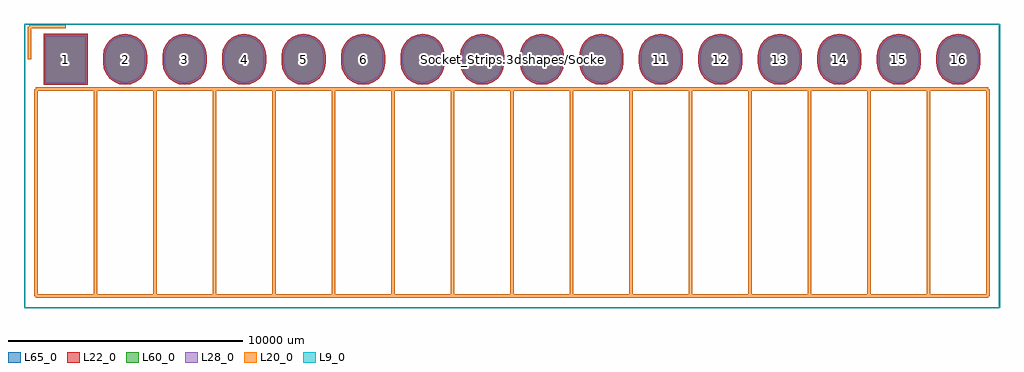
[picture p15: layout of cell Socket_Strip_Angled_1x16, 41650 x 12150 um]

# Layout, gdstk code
import gdstk
lib = gdstk.Library(unit=1e-6, precision=1e-09)
def R(c, l, rs):  # rectangles x0, y0, x1, y1
    for r in rs: c.add(gdstk.rectangle(r[:2], r[2:], *l))
def P(c, l, *ps):  # polygons
    for p in ps: c.add(gdstk.Polygon(p, *l))
L9_0 = (9, 0)
L20_0 = (20, 0)
L22_0 = (22, 0)
L28_0 = (28, 0)
L60_0 = (60, 0)
L65_0 = (65, 0)

socket_strip_angled_1x16 = lib.new_cell('Socket_Strip_Angled_1x16')
R(socket_strip_angled_1x16, L22_0, [(-938.6,-1091,938.6,1091)])
P(socket_strip_angled_1x16, L22_0, [(38100,-1091),(38342.928,-1059.018),(38569.3,-965.251),(38763.69,-816.09),(38912.851,-621.7),(39006.618,-395.328),(39038.6,-152.4),(39038.6,152.4),(39006.618,395.328),(38912.851,621.7),(38763.69,816.09),(38569.3,965.251),(38342.928,1059.018),(38100,1091),(37857.072,1059.018),(37630.7,965.251),(37436.31,816.09),(37287.149,621.7),(37193.382,395.328),(37161.4,152.4),(37161.4,-152.4),(37193.382,-395.328),(37287.149,-621.7),(37436.31,-816.09),(37630.7,-965.251),(37857.072,-1059.018)],
  [(35560,-1091),(35802.928,-1059.018),(36029.3,-965.251),(36223.69,-816.09),(36372.851,-621.7),(36466.618,-395.328),(36498.6,-152.4),(36498.6,152.4),(36466.618,395.328),(36372.851,621.7),(36223.69,816.09),(36029.3,965.251),(35802.928,1059.018),(35560,1091),(35317.072,1059.018),(35090.7,965.251),(34896.31,816.09),(34747.149,621.7),(34653.382,395.328),(34621.4,152.4),(34621.4,-152.4),(34653.382,-395.328),(34747.149,-621.7),(34896.31,-816.09),(35090.7,-965.251),(35317.072,-1059.018)],
  [(33020,-1091),(33262.928,-1059.018),(33489.3,-965.251),(33683.69,-816.09),(33832.851,-621.7),(33926.618,-395.328),(33958.6,-152.4),(33958.6,152.4),(33926.618,395.328),(33832.851,621.7),(33683.69,816.09),(33489.3,965.251),(33262.928,1059.018),(33020,1091),(32777.072,1059.018),(32550.7,965.251),(32356.31,816.09),(32207.149,621.7),(32113.382,395.328),(32081.4,152.4),(32081.4,-152.4),(32113.382,-395.328),(32207.149,-621.7),(32356.31,-816.09),(32550.7,-965.251),(32777.072,-1059.018)],
  [(30480,-1091),(30722.928,-1059.018),(30949.3,-965.251),(31143.69,-816.09),(31292.851,-621.7),(31386.618,-395.328),(31418.6,-152.4),(31418.6,152.4),(31386.618,395.328),(31292.851,621.7),(31143.69,816.09),(30949.3,965.251),(30722.928,1059.018),(30480,1091),(30237.072,1059.018),(30010.7,965.251),(29816.31,816.09),(29667.149,621.7),(29573.382,395.328),(29541.4,152.4),(29541.4,-152.4),(29573.382,-395.328),(29667.149,-621.7),(29816.31,-816.09),(30010.7,-965.251),(30237.072,-1059.018)],
  [(27940,-1091),(28182.928,-1059.018),(28409.3,-965.251),(28603.69,-816.09),(28752.851,-621.7),(28846.618,-395.328),(28878.6,-152.4),(28878.6,152.4),(28846.618,395.328),(28752.851,621.7),(28603.69,816.09),(28409.3,965.251),(28182.928,1059.018),(27940,1091),(27697.072,1059.018),(27470.7,965.251),(27276.31,816.09),(27127.149,621.7),(27033.382,395.328),(27001.4,152.4),(27001.4,-152.4),(27033.382,-395.328),(27127.149,-621.7),(27276.31,-816.09),(27470.7,-965.251),(27697.072,-1059.018)],
  [(25400,-1091),(25642.928,-1059.018),(25869.3,-965.251),(26063.69,-816.09),(26212.851,-621.7),(26306.618,-395.328),(26338.6,-152.4),(26338.6,152.4),(26306.618,395.328),(26212.851,621.7),(26063.69,816.09),(25869.3,965.251),(25642.928,1059.018),(25400,1091),(25157.072,1059.018),(24930.7,965.251),(24736.31,816.09),(24587.149,621.7),(24493.382,395.328),(24461.4,152.4),(24461.4,-152.4),(24493.382,-395.328),(24587.149,-621.7),(24736.31,-816.09),(24930.7,-965.251),(25157.072,-1059.018)],
  [(22860,-1091),(23102.928,-1059.018),(23329.3,-965.251),(23523.69,-816.09),(23672.851,-621.7),(23766.618,-395.328),(23798.6,-152.4),(23798.6,152.4),(23766.618,395.328),(23672.851,621.7),(23523.69,816.09),(23329.3,965.251),(23102.928,1059.018),(22860,1091),(22617.072,1059.018),(22390.7,965.251),(22196.31,816.09),(22047.149,621.7),(21953.382,395.328),(21921.4,152.4),(21921.4,-152.4),(21953.382,-395.328),(22047.149,-621.7),(22196.31,-816.09),(22390.7,-965.251),(22617.072,-1059.018)],
  [(20320,-1091),(20562.928,-1059.018),(20789.3,-965.251),(20983.69,-816.09),(21132.851,-621.7),(21226.618,-395.328),(21258.6,-152.4),(21258.6,152.4),(21226.618,395.328),(21132.851,621.7),(20983.69,816.09),(20789.3,965.251),(20562.928,1059.018),(20320,1091),(20077.072,1059.018),(19850.7,965.251),(19656.31,816.09),(19507.149,621.7),(19413.382,395.328),(19381.4,152.4),(19381.4,-152.4),(19413.382,-395.328),(19507.149,-621.7),(19656.31,-816.09),(19850.7,-965.251),(20077.072,-1059.018)],
  [(17780,-1091),(18022.928,-1059.018),(18249.3,-965.251),(18443.69,-816.09),(18592.851,-621.7),(18686.618,-395.328),(18718.6,-152.4),(18718.6,152.4),(18686.618,395.328),(18592.851,621.7),(18443.69,816.09),(18249.3,965.251),(18022.928,1059.018),(17780,1091),(17537.072,1059.018),(17310.7,965.251),(17116.31,816.09),(16967.149,621.7),(16873.382,395.328),(16841.4,152.4),(16841.4,-152.4),(16873.382,-395.328),(16967.149,-621.7),(17116.31,-816.09),(17310.7,-965.251),(17537.072,-1059.018)],
  [(15240,-1091),(15482.928,-1059.018),(15709.3,-965.251),(15903.69,-816.09),(16052.851,-621.7),(16146.618,-395.328),(16178.6,-152.4),(16178.6,152.4),(16146.618,395.328),(16052.851,621.7),(15903.69,816.09),(15709.3,965.251),(15482.928,1059.018),(15240,1091),(14997.072,1059.018),(14770.7,965.251),(14576.31,816.09),(14427.149,621.7),(14333.382,395.328),(14301.4,152.4),(14301.4,-152.4),(14333.382,-395.328),(14427.149,-621.7),(14576.31,-816.09),(14770.7,-965.251),(14997.072,-1059.018)],
  [(12700,-1091),(12942.928,-1059.018),(13169.3,-965.251),(13363.69,-816.09),(13512.851,-621.7),(13606.618,-395.328),(13638.6,-152.4),(13638.6,152.4),(13606.618,395.328),(13512.851,621.7),(13363.69,816.09),(13169.3,965.251),(12942.928,1059.018),(12700,1091),(12457.072,1059.018),(12230.7,965.251),(12036.31,816.09),(11887.149,621.7),(11793.382,395.328),(11761.4,152.4),(11761.4,-152.4),(11793.382,-395.328),(11887.149,-621.7),(12036.31,-816.09),(12230.7,-965.251),(12457.072,-1059.018)],
  [(10160,-1091),(10402.928,-1059.018),(10629.3,-965.251),(10823.69,-816.09),(10972.851,-621.7),(11066.618,-395.328),(11098.6,-152.4),(11098.6,152.4),(11066.618,395.328),(10972.851,621.7),(10823.69,816.09),(10629.3,965.251),(10402.928,1059.018),(10160,1091),(9917.072,1059.018),(9690.7,965.251),(9496.31,816.09),(9347.149,621.7),(9253.382,395.328),(9221.4,152.4),(9221.4,-152.4),(9253.382,-395.328),(9347.149,-621.7),(9496.31,-816.09),(9690.7,-965.251),(9917.072,-1059.018)],
  [(7620,-1091),(7862.928,-1059.018),(8089.3,-965.251),(8283.69,-816.09),(8432.851,-621.7),(8526.618,-395.328),(8558.6,-152.4),(8558.6,152.4),(8526.618,395.328),(8432.851,621.7),(8283.69,816.09),(8089.3,965.251),(7862.928,1059.018),(7620,1091),(7377.072,1059.018),(7150.7,965.251),(6956.31,816.09),(6807.149,621.7),(6713.382,395.328),(6681.4,152.4),(6681.4,-152.4),(6713.382,-395.328),(6807.149,-621.7),(6956.31,-816.09),(7150.7,-965.251),(7377.072,-1059.018)],
  [(5080,-1091),(5322.928,-1059.018),(5549.3,-965.251),(5743.69,-816.09),(5892.851,-621.7),(5986.618,-395.328),(6018.6,-152.4),(6018.6,152.4),(5986.618,395.328),(5892.851,621.7),(5743.69,816.09),(5549.3,965.251),(5322.928,1059.018),(5080,1091),(4837.072,1059.018),(4610.7,965.251),(4416.31,816.09),(4267.149,621.7),(4173.382,395.328),(4141.4,152.4),(4141.4,-152.4),(4173.382,-395.328),(4267.149,-621.7),(4416.31,-816.09),(4610.7,-965.251),(4837.072,-1059.018)],
  [(2540,-1091),(2782.928,-1059.018),(3009.3,-965.251),(3203.69,-816.09),(3352.851,-621.7),(3446.618,-395.328),(3478.6,-152.4),(3478.6,152.4),(3446.618,395.328),(3352.851,621.7),(3203.69,816.09),(3009.3,965.251),(2782.928,1059.018),(2540,1091),(2297.072,1059.018),(2070.7,965.251),(1876.31,816.09),(1727.149,621.7),(1633.382,395.328),(1601.4,152.4),(1601.4,-152.4),(1633.382,-395.328),(1727.149,-621.7),(1876.31,-816.09),(2070.7,-965.251),(2297.072,-1059.018)])
R(socket_strip_angled_1x16, L28_0, [(-863.6,-1016,863.6,1016)])
P(socket_strip_angled_1x16, L28_0, [(38100,-1016),(38323.516,-986.574),(38531.8,-900.3),(38710.657,-763.057),(38847.9,-584.2),(38934.174,-375.916),(38963.6,-152.4),(38963.6,152.4),(38934.174,375.916),(38847.9,584.2),(38710.657,763.057),(38531.8,900.3),(38323.516,986.574),(38100,1016),(37876.484,986.574),(37668.2,900.3),(37489.343,763.057),(37352.1,584.2),(37265.826,375.916),(37236.4,152.4),(37236.4,-152.4),(37265.826,-375.916),(37352.1,-584.2),(37489.343,-763.057),(37668.2,-900.3),(37876.484,-986.574)],
  [(35560,-1016),(35783.516,-986.574),(35991.8,-900.3),(36170.657,-763.057),(36307.9,-584.2),(36394.174,-375.916),(36423.6,-152.4),(36423.6,152.4),(36394.174,375.916),(36307.9,584.2),(36170.657,763.057),(35991.8,900.3),(35783.516,986.574),(35560,1016),(35336.484,986.574),(35128.2,900.3),(34949.343,763.057),(34812.1,584.2),(34725.826,375.916),(34696.4,152.4),(34696.4,-152.4),(34725.826,-375.916),(34812.1,-584.2),(34949.343,-763.057),(35128.2,-900.3),(35336.484,-986.574)],
  [(33020,-1016),(33243.516,-986.574),(33451.8,-900.3),(33630.657,-763.057),(33767.9,-584.2),(33854.174,-375.916),(33883.6,-152.4),(33883.6,152.4),(33854.174,375.916),(33767.9,584.2),(33630.657,763.057),(33451.8,900.3),(33243.516,986.574),(33020,1016),(32796.484,986.574),(32588.2,900.3),(32409.343,763.057),(32272.1,584.2),(32185.826,375.916),(32156.4,152.4),(32156.4,-152.4),(32185.826,-375.916),(32272.1,-584.2),(32409.343,-763.057),(32588.2,-900.3),(32796.484,-986.574)],
  [(30480,-1016),(30703.516,-986.574),(30911.8,-900.3),(31090.657,-763.057),(31227.9,-584.2),(31314.174,-375.916),(31343.6,-152.4),(31343.6,152.4),(31314.174,375.916),(31227.9,584.2),(31090.657,763.057),(30911.8,900.3),(30703.516,986.574),(30480,1016),(30256.484,986.574),(30048.2,900.3),(29869.343,763.057),(29732.1,584.2),(29645.826,375.916),(29616.4,152.4),(29616.4,-152.4),(29645.826,-375.916),(29732.1,-584.2),(29869.343,-763.057),(30048.2,-900.3),(30256.484,-986.574)],
  [(27940,-1016),(28163.516,-986.574),(28371.8,-900.3),(28550.657,-763.057),(28687.9,-584.2),(28774.174,-375.916),(28803.6,-152.4),(28803.6,152.4),(28774.174,375.916),(28687.9,584.2),(28550.657,763.057),(28371.8,900.3),(28163.516,986.574),(27940,1016),(27716.484,986.574),(27508.2,900.3),(27329.343,763.057),(27192.1,584.2),(27105.826,375.916),(27076.4,152.4),(27076.4,-152.4),(27105.826,-375.916),(27192.1,-584.2),(27329.343,-763.057),(27508.2,-900.3),(27716.484,-986.574)],
  [(25400,-1016),(25623.516,-986.574),(25831.8,-900.3),(26010.657,-763.057),(26147.9,-584.2),(26234.174,-375.916),(26263.6,-152.4),(26263.6,152.4),(26234.174,375.916),(26147.9,584.2),(26010.657,763.057),(25831.8,900.3),(25623.516,986.574),(25400,1016),(25176.484,986.574),(24968.2,900.3),(24789.343,763.057),(24652.1,584.2),(24565.826,375.916),(24536.4,152.4),(24536.4,-152.4),(24565.826,-375.916),(24652.1,-584.2),(24789.343,-763.057),(24968.2,-900.3),(25176.484,-986.574)],
  [(22860,-1016),(23083.516,-986.574),(23291.8,-900.3),(23470.657,-763.057),(23607.9,-584.2),(23694.174,-375.916),(23723.6,-152.4),(23723.6,152.4),(23694.174,375.916),(23607.9,584.2),(23470.657,763.057),(23291.8,900.3),(23083.516,986.574),(22860,1016),(22636.484,986.574),(22428.2,900.3),(22249.343,763.057),(22112.1,584.2),(22025.826,375.916),(21996.4,152.4),(21996.4,-152.4),(22025.826,-375.916),(22112.1,-584.2),(22249.343,-763.057),(22428.2,-900.3),(22636.484,-986.574)],
  [(20320,-1016),(20543.516,-986.574),(20751.8,-900.3),(20930.657,-763.057),(21067.9,-584.2),(21154.174,-375.916),(21183.6,-152.4),(21183.6,152.4),(21154.174,375.916),(21067.9,584.2),(20930.657,763.057),(20751.8,900.3),(20543.516,986.574),(20320,1016),(20096.484,986.574),(19888.2,900.3),(19709.343,763.057),(19572.1,584.2),(19485.826,375.916),(19456.4,152.4),(19456.4,-152.4),(19485.826,-375.916),(19572.1,-584.2),(19709.343,-763.057),(19888.2,-900.3),(20096.484,-986.574)],
  [(17780,-1016),(18003.516,-986.574),(18211.8,-900.3),(18390.657,-763.057),(18527.9,-584.2),(18614.174,-375.916),(18643.6,-152.4),(18643.6,152.4),(18614.174,375.916),(18527.9,584.2),(18390.657,763.057),(18211.8,900.3),(18003.516,986.574),(17780,1016),(17556.484,986.574),(17348.2,900.3),(17169.343,763.057),(17032.1,584.2),(16945.826,375.916),(16916.4,152.4),(16916.4,-152.4),(16945.826,-375.916),(17032.1,-584.2),(17169.343,-763.057),(17348.2,-900.3),(17556.484,-986.574)],
  [(15240,-1016),(15463.516,-986.574),(15671.8,-900.3),(15850.657,-763.057),(15987.9,-584.2),(16074.174,-375.916),(16103.6,-152.4),(16103.6,152.4),(16074.174,375.916),(15987.9,584.2),(15850.657,763.057),(15671.8,900.3),(15463.516,986.574),(15240,1016),(15016.484,986.574),(14808.2,900.3),(14629.343,763.057),(14492.1,584.2),(14405.826,375.916),(14376.4,152.4),(14376.4,-152.4),(14405.826,-375.916),(14492.1,-584.2),(14629.343,-763.057),(14808.2,-900.3),(15016.484,-986.574)],
  [(12700,-1016),(12923.516,-986.574),(13131.8,-900.3),(13310.657,-763.057),(13447.9,-584.2),(13534.174,-375.916),(13563.6,-152.4),(13563.6,152.4),(13534.174,375.916),(13447.9,584.2),(13310.657,763.057),(13131.8,900.3),(12923.516,986.574),(12700,1016),(12476.484,986.574),(12268.2,900.3),(12089.343,763.057),(11952.1,584.2),(11865.826,375.916),(11836.4,152.4),(11836.4,-152.4),(11865.826,-375.916),(11952.1,-584.2),(12089.343,-763.057),(12268.2,-900.3),(12476.484,-986.574)],
  [(10160,-1016),(10383.516,-986.574),(10591.8,-900.3),(10770.657,-763.057),(10907.9,-584.2),(10994.174,-375.916),(11023.6,-152.4),(11023.6,152.4),(10994.174,375.916),(10907.9,584.2),(10770.657,763.057),(10591.8,900.3),(10383.516,986.574),(10160,1016),(9936.484,986.574),(9728.2,900.3),(9549.343,763.057),(9412.1,584.2),(9325.826,375.916),(9296.4,152.4),(9296.4,-152.4),(9325.826,-375.916),(9412.1,-584.2),(9549.343,-763.057),(9728.2,-900.3),(9936.484,-986.574)],
  [(7620,-1016),(7843.516,-986.574),(8051.8,-900.3),(8230.657,-763.057),(8367.9,-584.2),(8454.174,-375.916),(8483.6,-152.4),(8483.6,152.4),(8454.174,375.916),(8367.9,584.2),(8230.657,763.057),(8051.8,900.3),(7843.516,986.574),(7620,1016),(7396.484,986.574),(7188.2,900.3),(7009.343,763.057),(6872.1,584.2),(6785.826,375.916),(6756.4,152.4),(6756.4,-152.4),(6785.826,-375.916),(6872.1,-584.2),(7009.343,-763.057),(7188.2,-900.3),(7396.484,-986.574)],
  [(5080,-1016),(5303.516,-986.574),(5511.8,-900.3),(5690.657,-763.057),(5827.9,-584.2),(5914.174,-375.916),(5943.6,-152.4),(5943.6,152.4),(5914.174,375.916),(5827.9,584.2),(5690.657,763.057),(5511.8,900.3),(5303.516,986.574),(5080,1016),(4856.484,986.574),(4648.2,900.3),(4469.343,763.057),(4332.1,584.2),(4245.826,375.916),(4216.4,152.4),(4216.4,-152.4),(4245.826,-375.916),(4332.1,-584.2),(4469.343,-763.057),(4648.2,-900.3),(4856.484,-986.574)],
  [(2540,-1016),(2763.516,-986.574),(2971.8,-900.3),(3150.657,-763.057),(3287.9,-584.2),(3374.174,-375.916),(3403.6,-152.4),(3403.6,152.4),(3374.174,375.916),(3287.9,584.2),(3150.657,763.057),(2971.8,900.3),(2763.516,986.574),(2540,1016),(2316.484,986.574),(2108.2,900.3),(1929.343,763.057),(1792.1,584.2),(1705.826,375.916),(1676.4,152.4),(1676.4,-152.4),(1705.826,-375.916),(1792.1,-584.2),(1929.343,-763.057),(2108.2,-900.3),(2316.484,-986.574)])
R(socket_strip_angled_1x16, L60_0, [(-863.6,-1016,863.6,1016)])
P(socket_strip_angled_1x16, L60_0, [(38100,-1016),(38323.516,-986.574),(38531.8,-900.3),(38710.657,-763.057),(38847.9,-584.2),(38934.174,-375.916),(38963.6,-152.4),(38963.6,152.4),(38934.174,375.916),(38847.9,584.2),(38710.657,763.057),(38531.8,900.3),(38323.516,986.574),(38100,1016),(37876.484,986.574),(37668.2,900.3),(37489.343,763.057),(37352.1,584.2),(37265.826,375.916),(37236.4,152.4),(37236.4,-152.4),(37265.826,-375.916),(37352.1,-584.2),(37489.343,-763.057),(37668.2,-900.3),(37876.484,-986.574)],
  [(35560,-1016),(35783.516,-986.574),(35991.8,-900.3),(36170.657,-763.057),(36307.9,-584.2),(36394.174,-375.916),(36423.6,-152.4),(36423.6,152.4),(36394.174,375.916),(36307.9,584.2),(36170.657,763.057),(35991.8,900.3),(35783.516,986.574),(35560,1016),(35336.484,986.574),(35128.2,900.3),(34949.343,763.057),(34812.1,584.2),(34725.826,375.916),(34696.4,152.4),(34696.4,-152.4),(34725.826,-375.916),(34812.1,-584.2),(34949.343,-763.057),(35128.2,-900.3),(35336.484,-986.574)],
  [(33020,-1016),(33243.516,-986.574),(33451.8,-900.3),(33630.657,-763.057),(33767.9,-584.2),(33854.174,-375.916),(33883.6,-152.4),(33883.6,152.4),(33854.174,375.916),(33767.9,584.2),(33630.657,763.057),(33451.8,900.3),(33243.516,986.574),(33020,1016),(32796.484,986.574),(32588.2,900.3),(32409.343,763.057),(32272.1,584.2),(32185.826,375.916),(32156.4,152.4),(32156.4,-152.4),(32185.826,-375.916),(32272.1,-584.2),(32409.343,-763.057),(32588.2,-900.3),(32796.484,-986.574)],
  [(30480,-1016),(30703.516,-986.574),(30911.8,-900.3),(31090.657,-763.057),(31227.9,-584.2),(31314.174,-375.916),(31343.6,-152.4),(31343.6,152.4),(31314.174,375.916),(31227.9,584.2),(31090.657,763.057),(30911.8,900.3),(30703.516,986.574),(30480,1016),(30256.484,986.574),(30048.2,900.3),(29869.343,763.057),(29732.1,584.2),(29645.826,375.916),(29616.4,152.4),(29616.4,-152.4),(29645.826,-375.916),(29732.1,-584.2),(29869.343,-763.057),(30048.2,-900.3),(30256.484,-986.574)],
  [(27940,-1016),(28163.516,-986.574),(28371.8,-900.3),(28550.657,-763.057),(28687.9,-584.2),(28774.174,-375.916),(28803.6,-152.4),(28803.6,152.4),(28774.174,375.916),(28687.9,584.2),(28550.657,763.057),(28371.8,900.3),(28163.516,986.574),(27940,1016),(27716.484,986.574),(27508.2,900.3),(27329.343,763.057),(27192.1,584.2),(27105.826,375.916),(27076.4,152.4),(27076.4,-152.4),(27105.826,-375.916),(27192.1,-584.2),(27329.343,-763.057),(27508.2,-900.3),(27716.484,-986.574)],
  [(25400,-1016),(25623.516,-986.574),(25831.8,-900.3),(26010.657,-763.057),(26147.9,-584.2),(26234.174,-375.916),(26263.6,-152.4),(26263.6,152.4),(26234.174,375.916),(26147.9,584.2),(26010.657,763.057),(25831.8,900.3),(25623.516,986.574),(25400,1016),(25176.484,986.574),(24968.2,900.3),(24789.343,763.057),(24652.1,584.2),(24565.826,375.916),(24536.4,152.4),(24536.4,-152.4),(24565.826,-375.916),(24652.1,-584.2),(24789.343,-763.057),(24968.2,-900.3),(25176.484,-986.574)],
  [(22860,-1016),(23083.516,-986.574),(23291.8,-900.3),(23470.657,-763.057),(23607.9,-584.2),(23694.174,-375.916),(23723.6,-152.4),(23723.6,152.4),(23694.174,375.916),(23607.9,584.2),(23470.657,763.057),(23291.8,900.3),(23083.516,986.574),(22860,1016),(22636.484,986.574),(22428.2,900.3),(22249.343,763.057),(22112.1,584.2),(22025.826,375.916),(21996.4,152.4),(21996.4,-152.4),(22025.826,-375.916),(22112.1,-584.2),(22249.343,-763.057),(22428.2,-900.3),(22636.484,-986.574)],
  [(20320,-1016),(20543.516,-986.574),(20751.8,-900.3),(20930.657,-763.057),(21067.9,-584.2),(21154.174,-375.916),(21183.6,-152.4),(21183.6,152.4),(21154.174,375.916),(21067.9,584.2),(20930.657,763.057),(20751.8,900.3),(20543.516,986.574),(20320,1016),(20096.484,986.574),(19888.2,900.3),(19709.343,763.057),(19572.1,584.2),(19485.826,375.916),(19456.4,152.4),(19456.4,-152.4),(19485.826,-375.916),(19572.1,-584.2),(19709.343,-763.057),(19888.2,-900.3),(20096.484,-986.574)],
  [(17780,-1016),(18003.516,-986.574),(18211.8,-900.3),(18390.657,-763.057),(18527.9,-584.2),(18614.174,-375.916),(18643.6,-152.4),(18643.6,152.4),(18614.174,375.916),(18527.9,584.2),(18390.657,763.057),(18211.8,900.3),(18003.516,986.574),(17780,1016),(17556.484,986.574),(17348.2,900.3),(17169.343,763.057),(17032.1,584.2),(16945.826,375.916),(16916.4,152.4),(16916.4,-152.4),(16945.826,-375.916),(17032.1,-584.2),(17169.343,-763.057),(17348.2,-900.3),(17556.484,-986.574)],
  [(15240,-1016),(15463.516,-986.574),(15671.8,-900.3),(15850.657,-763.057),(15987.9,-584.2),(16074.174,-375.916),(16103.6,-152.4),(16103.6,152.4),(16074.174,375.916),(15987.9,584.2),(15850.657,763.057),(15671.8,900.3),(15463.516,986.574),(15240,1016),(15016.484,986.574),(14808.2,900.3),(14629.343,763.057),(14492.1,584.2),(14405.826,375.916),(14376.4,152.4),(14376.4,-152.4),(14405.826,-375.916),(14492.1,-584.2),(14629.343,-763.057),(14808.2,-900.3),(15016.484,-986.574)],
  [(12700,-1016),(12923.516,-986.574),(13131.8,-900.3),(13310.657,-763.057),(13447.9,-584.2),(13534.174,-375.916),(13563.6,-152.4),(13563.6,152.4),(13534.174,375.916),(13447.9,584.2),(13310.657,763.057),(13131.8,900.3),(12923.516,986.574),(12700,1016),(12476.484,986.574),(12268.2,900.3),(12089.343,763.057),(11952.1,584.2),(11865.826,375.916),(11836.4,152.4),(11836.4,-152.4),(11865.826,-375.916),(11952.1,-584.2),(12089.343,-763.057),(12268.2,-900.3),(12476.484,-986.574)],
  [(10160,-1016),(10383.516,-986.574),(10591.8,-900.3),(10770.657,-763.057),(10907.9,-584.2),(10994.174,-375.916),(11023.6,-152.4),(11023.6,152.4),(10994.174,375.916),(10907.9,584.2),(10770.657,763.057),(10591.8,900.3),(10383.516,986.574),(10160,1016),(9936.484,986.574),(9728.2,900.3),(9549.343,763.057),(9412.1,584.2),(9325.826,375.916),(9296.4,152.4),(9296.4,-152.4),(9325.826,-375.916),(9412.1,-584.2),(9549.343,-763.057),(9728.2,-900.3),(9936.484,-986.574)],
  [(7620,-1016),(7843.516,-986.574),(8051.8,-900.3),(8230.657,-763.057),(8367.9,-584.2),(8454.174,-375.916),(8483.6,-152.4),(8483.6,152.4),(8454.174,375.916),(8367.9,584.2),(8230.657,763.057),(8051.8,900.3),(7843.516,986.574),(7620,1016),(7396.484,986.574),(7188.2,900.3),(7009.343,763.057),(6872.1,584.2),(6785.826,375.916),(6756.4,152.4),(6756.4,-152.4),(6785.826,-375.916),(6872.1,-584.2),(7009.343,-763.057),(7188.2,-900.3),(7396.484,-986.574)],
  [(5080,-1016),(5303.516,-986.574),(5511.8,-900.3),(5690.657,-763.057),(5827.9,-584.2),(5914.174,-375.916),(5943.6,-152.4),(5943.6,152.4),(5914.174,375.916),(5827.9,584.2),(5690.657,763.057),(5511.8,900.3),(5303.516,986.574),(5080,1016),(4856.484,986.574),(4648.2,900.3),(4469.343,763.057),(4332.1,584.2),(4245.826,375.916),(4216.4,152.4),(4216.4,-152.4),(4245.826,-375.916),(4332.1,-584.2),(4469.343,-763.057),(4648.2,-900.3),(4856.484,-986.574)],
  [(2540,-1016),(2763.516,-986.574),(2971.8,-900.3),(3150.657,-763.057),(3287.9,-584.2),(3374.174,-375.916),(3403.6,-152.4),(3403.6,152.4),(3374.174,375.916),(3287.9,584.2),(3150.657,763.057),(2971.8,900.3),(2763.516,986.574),(2540,1016),(2316.484,986.574),(2108.2,900.3),(1929.343,763.057),(1792.1,584.2),(1705.826,375.916),(1676.4,152.4),(1676.4,-152.4),(1705.826,-375.916),(1792.1,-584.2),(1929.343,-763.057),(2108.2,-900.3),(2316.484,-986.574)])
R(socket_strip_angled_1x16, L65_0, [(-938.6,-1091,938.6,1091)])
P(socket_strip_angled_1x16, L65_0, [(38100,-1091),(38342.928,-1059.018),(38569.3,-965.251),(38763.69,-816.09),(38912.851,-621.7),(39006.618,-395.328),(39038.6,-152.4),(39038.6,152.4),(39006.618,395.328),(38912.851,621.7),(38763.69,816.09),(38569.3,965.251),(38342.928,1059.018),(38100,1091),(37857.072,1059.018),(37630.7,965.251),(37436.31,816.09),(37287.149,621.7),(37193.382,395.328),(37161.4,152.4),(37161.4,-152.4),(37193.382,-395.328),(37287.149,-621.7),(37436.31,-816.09),(37630.7,-965.251),(37857.072,-1059.018)],
  [(35560,-1091),(35802.928,-1059.018),(36029.3,-965.251),(36223.69,-816.09),(36372.851,-621.7),(36466.618,-395.328),(36498.6,-152.4),(36498.6,152.4),(36466.618,395.328),(36372.851,621.7),(36223.69,816.09),(36029.3,965.251),(35802.928,1059.018),(35560,1091),(35317.072,1059.018),(35090.7,965.251),(34896.31,816.09),(34747.149,621.7),(34653.382,395.328),(34621.4,152.4),(34621.4,-152.4),(34653.382,-395.328),(34747.149,-621.7),(34896.31,-816.09),(35090.7,-965.251),(35317.072,-1059.018)],
  [(33020,-1091),(33262.928,-1059.018),(33489.3,-965.251),(33683.69,-816.09),(33832.851,-621.7),(33926.618,-395.328),(33958.6,-152.4),(33958.6,152.4),(33926.618,395.328),(33832.851,621.7),(33683.69,816.09),(33489.3,965.251),(33262.928,1059.018),(33020,1091),(32777.072,1059.018),(32550.7,965.251),(32356.31,816.09),(32207.149,621.7),(32113.382,395.328),(32081.4,152.4),(32081.4,-152.4),(32113.382,-395.328),(32207.149,-621.7),(32356.31,-816.09),(32550.7,-965.251),(32777.072,-1059.018)],
  [(30480,-1091),(30722.928,-1059.018),(30949.3,-965.251),(31143.69,-816.09),(31292.851,-621.7),(31386.618,-395.328),(31418.6,-152.4),(31418.6,152.4),(31386.618,395.328),(31292.851,621.7),(31143.69,816.09),(30949.3,965.251),(30722.928,1059.018),(30480,1091),(30237.072,1059.018),(30010.7,965.251),(29816.31,816.09),(29667.149,621.7),(29573.382,395.328),(29541.4,152.4),(29541.4,-152.4),(29573.382,-395.328),(29667.149,-621.7),(29816.31,-816.09),(30010.7,-965.251),(30237.072,-1059.018)],
  [(27940,-1091),(28182.928,-1059.018),(28409.3,-965.251),(28603.69,-816.09),(28752.851,-621.7),(28846.618,-395.328),(28878.6,-152.4),(28878.6,152.4),(28846.618,395.328),(28752.851,621.7),(28603.69,816.09),(28409.3,965.251),(28182.928,1059.018),(27940,1091),(27697.072,1059.018),(27470.7,965.251),(27276.31,816.09),(27127.149,621.7),(27033.382,395.328),(27001.4,152.4),(27001.4,-152.4),(27033.382,-395.328),(27127.149,-621.7),(27276.31,-816.09),(27470.7,-965.251),(27697.072,-1059.018)],
  [(25400,-1091),(25642.928,-1059.018),(25869.3,-965.251),(26063.69,-816.09),(26212.851,-621.7),(26306.618,-395.328),(26338.6,-152.4),(26338.6,152.4),(26306.618,395.328),(26212.851,621.7),(26063.69,816.09),(25869.3,965.251),(25642.928,1059.018),(25400,1091),(25157.072,1059.018),(24930.7,965.251),(24736.31,816.09),(24587.149,621.7),(24493.382,395.328),(24461.4,152.4),(24461.4,-152.4),(24493.382,-395.328),(24587.149,-621.7),(24736.31,-816.09),(24930.7,-965.251),(25157.072,-1059.018)],
  [(22860,-1091),(23102.928,-1059.018),(23329.3,-965.251),(23523.69,-816.09),(23672.851,-621.7),(23766.618,-395.328),(23798.6,-152.4),(23798.6,152.4),(23766.618,395.328),(23672.851,621.7),(23523.69,816.09),(23329.3,965.251),(23102.928,1059.018),(22860,1091),(22617.072,1059.018),(22390.7,965.251),(22196.31,816.09),(22047.149,621.7),(21953.382,395.328),(21921.4,152.4),(21921.4,-152.4),(21953.382,-395.328),(22047.149,-621.7),(22196.31,-816.09),(22390.7,-965.251),(22617.072,-1059.018)],
  [(20320,-1091),(20562.928,-1059.018),(20789.3,-965.251),(20983.69,-816.09),(21132.851,-621.7),(21226.618,-395.328),(21258.6,-152.4),(21258.6,152.4),(21226.618,395.328),(21132.851,621.7),(20983.69,816.09),(20789.3,965.251),(20562.928,1059.018),(20320,1091),(20077.072,1059.018),(19850.7,965.251),(19656.31,816.09),(19507.149,621.7),(19413.382,395.328),(19381.4,152.4),(19381.4,-152.4),(19413.382,-395.328),(19507.149,-621.7),(19656.31,-816.09),(19850.7,-965.251),(20077.072,-1059.018)],
  [(17780,-1091),(18022.928,-1059.018),(18249.3,-965.251),(18443.69,-816.09),(18592.851,-621.7),(18686.618,-395.328),(18718.6,-152.4),(18718.6,152.4),(18686.618,395.328),(18592.851,621.7),(18443.69,816.09),(18249.3,965.251),(18022.928,1059.018),(17780,1091),(17537.072,1059.018),(17310.7,965.251),(17116.31,816.09),(16967.149,621.7),(16873.382,395.328),(16841.4,152.4),(16841.4,-152.4),(16873.382,-395.328),(16967.149,-621.7),(17116.31,-816.09),(17310.7,-965.251),(17537.072,-1059.018)],
  [(15240,-1091),(15482.928,-1059.018),(15709.3,-965.251),(15903.69,-816.09),(16052.851,-621.7),(16146.618,-395.328),(16178.6,-152.4),(16178.6,152.4),(16146.618,395.328),(16052.851,621.7),(15903.69,816.09),(15709.3,965.251),(15482.928,1059.018),(15240,1091),(14997.072,1059.018),(14770.7,965.251),(14576.31,816.09),(14427.149,621.7),(14333.382,395.328),(14301.4,152.4),(14301.4,-152.4),(14333.382,-395.328),(14427.149,-621.7),(14576.31,-816.09),(14770.7,-965.251),(14997.072,-1059.018)],
  [(12700,-1091),(12942.928,-1059.018),(13169.3,-965.251),(13363.69,-816.09),(13512.851,-621.7),(13606.618,-395.328),(13638.6,-152.4),(13638.6,152.4),(13606.618,395.328),(13512.851,621.7),(13363.69,816.09),(13169.3,965.251),(12942.928,1059.018),(12700,1091),(12457.072,1059.018),(12230.7,965.251),(12036.31,816.09),(11887.149,621.7),(11793.382,395.328),(11761.4,152.4),(11761.4,-152.4),(11793.382,-395.328),(11887.149,-621.7),(12036.31,-816.09),(12230.7,-965.251),(12457.072,-1059.018)],
  [(10160,-1091),(10402.928,-1059.018),(10629.3,-965.251),(10823.69,-816.09),(10972.851,-621.7),(11066.618,-395.328),(11098.6,-152.4),(11098.6,152.4),(11066.618,395.328),(10972.851,621.7),(10823.69,816.09),(10629.3,965.251),(10402.928,1059.018),(10160,1091),(9917.072,1059.018),(9690.7,965.251),(9496.31,816.09),(9347.149,621.7),(9253.382,395.328),(9221.4,152.4),(9221.4,-152.4),(9253.382,-395.328),(9347.149,-621.7),(9496.31,-816.09),(9690.7,-965.251),(9917.072,-1059.018)],
  [(7620,-1091),(7862.928,-1059.018),(8089.3,-965.251),(8283.69,-816.09),(8432.851,-621.7),(8526.618,-395.328),(8558.6,-152.4),(8558.6,152.4),(8526.618,395.328),(8432.851,621.7),(8283.69,816.09),(8089.3,965.251),(7862.928,1059.018),(7620,1091),(7377.072,1059.018),(7150.7,965.251),(6956.31,816.09),(6807.149,621.7),(6713.382,395.328),(6681.4,152.4),(6681.4,-152.4),(6713.382,-395.328),(6807.149,-621.7),(6956.31,-816.09),(7150.7,-965.251),(7377.072,-1059.018)],
  [(5080,-1091),(5322.928,-1059.018),(5549.3,-965.251),(5743.69,-816.09),(5892.851,-621.7),(5986.618,-395.328),(6018.6,-152.4),(6018.6,152.4),(5986.618,395.328),(5892.851,621.7),(5743.69,816.09),(5549.3,965.251),(5322.928,1059.018),(5080,1091),(4837.072,1059.018),(4610.7,965.251),(4416.31,816.09),(4267.149,621.7),(4173.382,395.328),(4141.4,152.4),(4141.4,-152.4),(4173.382,-395.328),(4267.149,-621.7),(4416.31,-816.09),(4610.7,-965.251),(4837.072,-1059.018)],
  [(2540,-1091),(2782.928,-1059.018),(3009.3,-965.251),(3203.69,-816.09),(3352.851,-621.7),(3446.618,-395.328),(3478.6,-152.4),(3478.6,152.4),(3446.618,395.328),(3352.851,621.7),(3203.69,816.09),(3009.3,965.251),(2782.928,1059.018),(2540,1091),(2297.072,1059.018),(2070.7,965.251),(1876.31,816.09),(1727.149,621.7),(1633.382,395.328),(1601.4,152.4),(1601.4,-152.4),(1633.382,-395.328),(1727.149,-621.7),(1876.31,-816.09),(2070.7,-965.251),(2297.072,-1059.018)])
socket_strip_angled_1x16.add(gdstk.FlexPath([(1270,-10100),(1270,-1270)], 149.998, ends="flush", simple_path=True, layer=20, datatype=0))  # L20_0
socket_strip_angled_1x16.add(gdstk.FlexPath([(-1270,-10100),(1270,-10100)], 149.998, ends="flush", simple_path=True, layer=20, datatype=0))  # L20_0
socket_strip_angled_1x16.add(gdstk.FlexPath([(-1270,-1270),(-1270,-10100)], 149.998, ends="flush", simple_path=True, layer=20, datatype=0))  # L20_0
socket_strip_angled_1x16.add(gdstk.FlexPath([(-1550,1400),(-1550,0)], 149.998, ends="flush", simple_path=True, layer=20, datatype=0))  # L20_0
socket_strip_angled_1x16.add(gdstk.FlexPath([(0,1400),(-1550,1400)], 149.998, ends="flush", simple_path=True, layer=20, datatype=0))  # L20_0
socket_strip_angled_1x16.add(gdstk.FlexPath([(-1270,-1270),(1270,-1270)], 149.998, ends="flush", simple_path=True, layer=20, datatype=0))  # L20_0
socket_strip_angled_1x16.add(gdstk.FlexPath([(1270,-1270),(3810,-1270)], 149.998, ends="flush", simple_path=True, layer=20, datatype=0))  # L20_0
socket_strip_angled_1x16.add(gdstk.FlexPath([(1270,-1270),(1270,-10100)], 149.998, ends="flush", simple_path=True, layer=20, datatype=0))  # L20_0
socket_strip_angled_1x16.add(gdstk.FlexPath([(1270,-10100),(3810,-10100)], 149.998, ends="flush", simple_path=True, layer=20, datatype=0))  # L20_0
socket_strip_angled_1x16.add(gdstk.FlexPath([(3810,-10100),(3810,-1270)], 149.998, ends="flush", simple_path=True, layer=20, datatype=0))  # L20_0
socket_strip_angled_1x16.add(gdstk.FlexPath([(6350,-10100),(6350,-1270)], 149.998, ends="flush", simple_path=True, layer=20, datatype=0))  # L20_0
socket_strip_angled_1x16.add(gdstk.FlexPath([(3810,-10100),(6350,-10100)], 149.998, ends="flush", simple_path=True, layer=20, datatype=0))  # L20_0
socket_strip_angled_1x16.add(gdstk.FlexPath([(3810,-1270),(6350,-1270)], 149.998, ends="flush", simple_path=True, layer=20, datatype=0))  # L20_0
socket_strip_angled_1x16.add(gdstk.FlexPath([(6350,-1270),(8890,-1270)], 149.998, ends="flush", simple_path=True, layer=20, datatype=0))  # L20_0
socket_strip_angled_1x16.add(gdstk.FlexPath([(6350,-10100),(8890,-10100)], 149.998, ends="flush", simple_path=True, layer=20, datatype=0))  # L20_0
socket_strip_angled_1x16.add(gdstk.FlexPath([(8890,-10100),(8890,-1270)], 149.998, ends="flush", simple_path=True, layer=20, datatype=0))  # L20_0
socket_strip_angled_1x16.add(gdstk.FlexPath([(11430,-10100),(11430,-1270)], 149.998, ends="flush", simple_path=True, layer=20, datatype=0))  # L20_0
socket_strip_angled_1x16.add(gdstk.FlexPath([(8890,-10100),(11430,-10100)], 149.998, ends="flush", simple_path=True, layer=20, datatype=0))  # L20_0
socket_strip_angled_1x16.add(gdstk.FlexPath([(8890,-1270),(11430,-1270)], 149.998, ends="flush", simple_path=True, layer=20, datatype=0))  # L20_0
socket_strip_angled_1x16.add(gdstk.FlexPath([(11430,-1270),(13970,-1270)], 149.998, ends="flush", simple_path=True, layer=20, datatype=0))  # L20_0
socket_strip_angled_1x16.add(gdstk.FlexPath([(11430,-10100),(13970,-10100)], 149.998, ends="flush", simple_path=True, layer=20, datatype=0))  # L20_0
socket_strip_angled_1x16.add(gdstk.FlexPath([(13970,-10100),(13970,-1270)], 149.998, ends="flush", simple_path=True, layer=20, datatype=0))  # L20_0
socket_strip_angled_1x16.add(gdstk.FlexPath([(39370,-10100),(39370,-1270)], 149.998, ends="flush", simple_path=True, layer=20, datatype=0))  # L20_0
socket_strip_angled_1x16.add(gdstk.FlexPath([(36830,-10100),(39370,-10100)], 149.998, ends="flush", simple_path=True, layer=20, datatype=0))  # L20_0
socket_strip_angled_1x16.add(gdstk.FlexPath([(36830,-1270),(39370,-1270)], 149.998, ends="flush", simple_path=True, layer=20, datatype=0))  # L20_0
socket_strip_angled_1x16.add(gdstk.FlexPath([(34290,-1270),(36830,-1270)], 149.998, ends="flush", simple_path=True, layer=20, datatype=0))  # L20_0
socket_strip_angled_1x16.add(gdstk.FlexPath([(34290,-10100),(36830,-10100)], 149.998, ends="flush", simple_path=True, layer=20, datatype=0))  # L20_0
socket_strip_angled_1x16.add(gdstk.FlexPath([(36830,-10100),(36830,-1270)], 149.998, ends="flush", simple_path=True, layer=20, datatype=0))  # L20_0
socket_strip_angled_1x16.add(gdstk.FlexPath([(34290,-10100),(34290,-1270)], 149.998, ends="flush", simple_path=True, layer=20, datatype=0))  # L20_0
socket_strip_angled_1x16.add(gdstk.FlexPath([(31750,-10100),(34290,-10100)], 149.998, ends="flush", simple_path=True, layer=20, datatype=0))  # L20_0
socket_strip_angled_1x16.add(gdstk.FlexPath([(31750,-1270),(34290,-1270)], 149.998, ends="flush", simple_path=True, layer=20, datatype=0))  # L20_0
socket_strip_angled_1x16.add(gdstk.FlexPath([(29210,-1270),(31750,-1270)], 149.998, ends="flush", simple_path=True, layer=20, datatype=0))  # L20_0
socket_strip_angled_1x16.add(gdstk.FlexPath([(29210,-10100),(31750,-10100)], 149.998, ends="flush", simple_path=True, layer=20, datatype=0))  # L20_0
socket_strip_angled_1x16.add(gdstk.FlexPath([(31750,-10100),(31750,-1270)], 149.998, ends="flush", simple_path=True, layer=20, datatype=0))  # L20_0
socket_strip_angled_1x16.add(gdstk.FlexPath([(29210,-10100),(29210,-1270)], 149.998, ends="flush", simple_path=True, layer=20, datatype=0))  # L20_0
socket_strip_angled_1x16.add(gdstk.FlexPath([(26670,-10100),(29210,-10100)], 149.998, ends="flush", simple_path=True, layer=20, datatype=0))  # L20_0
socket_strip_angled_1x16.add(gdstk.FlexPath([(26670,-1270),(29210,-1270)], 149.998, ends="flush", simple_path=True, layer=20, datatype=0))  # L20_0
socket_strip_angled_1x16.add(gdstk.FlexPath([(26670,-10100),(26670,-1270)], 149.998, ends="flush", simple_path=True, layer=20, datatype=0))  # L20_0
socket_strip_angled_1x16.add(gdstk.FlexPath([(24130,-10100),(26670,-10100)], 149.998, ends="flush", simple_path=True, layer=20, datatype=0))  # L20_0
socket_strip_angled_1x16.add(gdstk.FlexPath([(24130,-1270),(26670,-1270)], 149.998, ends="flush", simple_path=True, layer=20, datatype=0))  # L20_0
socket_strip_angled_1x16.add(gdstk.FlexPath([(21590,-1270),(24130,-1270)], 149.998, ends="flush", simple_path=True, layer=20, datatype=0))  # L20_0
socket_strip_angled_1x16.add(gdstk.FlexPath([(21590,-10100),(24130,-10100)], 149.998, ends="flush", simple_path=True, layer=20, datatype=0))  # L20_0
socket_strip_angled_1x16.add(gdstk.FlexPath([(24130,-10100),(24130,-1270)], 149.998, ends="flush", simple_path=True, layer=20, datatype=0))  # L20_0
socket_strip_angled_1x16.add(gdstk.FlexPath([(21590,-10100),(21590,-1270)], 149.998, ends="flush", simple_path=True, layer=20, datatype=0))  # L20_0
socket_strip_angled_1x16.add(gdstk.FlexPath([(19050,-10100),(21590,-10100)], 149.998, ends="flush", simple_path=True, layer=20, datatype=0))  # L20_0
socket_strip_angled_1x16.add(gdstk.FlexPath([(19050,-1270),(21590,-1270)], 149.998, ends="flush", simple_path=True, layer=20, datatype=0))  # L20_0
socket_strip_angled_1x16.add(gdstk.FlexPath([(16510,-1270),(19050,-1270)], 149.998, ends="flush", simple_path=True, layer=20, datatype=0))  # L20_0
socket_strip_angled_1x16.add(gdstk.FlexPath([(16510,-10100),(19050,-10100)], 149.998, ends="flush", simple_path=True, layer=20, datatype=0))  # L20_0
socket_strip_angled_1x16.add(gdstk.FlexPath([(19050,-10100),(19050,-1270)], 149.998, ends="flush", simple_path=True, layer=20, datatype=0))  # L20_0
socket_strip_angled_1x16.add(gdstk.FlexPath([(16510,-10100),(16510,-1270)], 149.998, ends="flush", simple_path=True, layer=20, datatype=0))  # L20_0
socket_strip_angled_1x16.add(gdstk.FlexPath([(13970,-10100),(16510,-10100)], 149.998, ends="flush", simple_path=True, layer=20, datatype=0))  # L20_0
socket_strip_angled_1x16.add(gdstk.FlexPath([(13970,-1270),(16510,-1270)], 149.998, ends="flush", simple_path=True, layer=20, datatype=0))  # L20_0
socket_strip_angled_1x16.add(gdstk.FlexPath([(-1750,-10600),(39850,-10600)], 50, ends="flush", simple_path=True, layer=9, datatype=0))  # L9_0
socket_strip_angled_1x16.add(gdstk.FlexPath([(-1750,1500),(39850,1500)], 50, ends="flush", simple_path=True, layer=9, datatype=0))  # L9_0
socket_strip_angled_1x16.add(gdstk.FlexPath([(39850,1500),(39850,-10600)], 50, ends="flush", simple_path=True, layer=9, datatype=0))  # L9_0
socket_strip_angled_1x16.add(gdstk.FlexPath([(-1750,1500),(-1750,-10600)], 50, ends="flush", simple_path=True, layer=9, datatype=0))  # L9_0
socket_strip_angled_1x16.add(gdstk.Label('Socket_Strips.3dshapes/Socket_Strip_Angled_1x16.wrl', (19050,0), layer=12, texttype=0))
socket_strip_angled_1x16.add(gdstk.Label('16', (38100,0), layer=28, texttype=0))
socket_strip_angled_1x16.add(gdstk.Label('15', (35560,0), layer=28, texttype=0))
socket_strip_angled_1x16.add(gdstk.Label('14', (33020,0), layer=28, texttype=0))
socket_strip_angled_1x16.add(gdstk.Label('13', (30480,0), layer=28, texttype=0))
socket_strip_angled_1x16.add(gdstk.Label('12', (27940,0), layer=28, texttype=0))
socket_strip_angled_1x16.add(gdstk.Label('11', (25400,0), layer=28, texttype=0))
socket_strip_angled_1x16.add(gdstk.Label('10', (22860,0), layer=28, texttype=0))
socket_strip_angled_1x16.add(gdstk.Label('9', (20320,0), layer=28, texttype=0))
socket_strip_angled_1x16.add(gdstk.Label('8', (17780,0), layer=28, texttype=0))
socket_strip_angled_1x16.add(gdstk.Label('7', (15240,0), layer=28, texttype=0))
socket_strip_angled_1x16.add(gdstk.Label('6', (12700,0), layer=28, texttype=0))
socket_strip_angled_1x16.add(gdstk.Label('5', (10160,0), layer=28, texttype=0))
socket_strip_angled_1x16.add(gdstk.Label('4', (7620,0), layer=28, texttype=0))
socket_strip_angled_1x16.add(gdstk.Label('3', (5080,0), layer=28, texttype=0))
socket_strip_angled_1x16.add(gdstk.Label('2', (2540,0), layer=28, texttype=0))
socket_strip_angled_1x16.add(gdstk.Label('1', (0,0), layer=28, texttype=0))
socket_strip_angled_1x16.add(gdstk.Label('type', (0,2750), layer=9, texttype=0))
socket_strip_angled_1x16.add(gdstk.Label('devicename', (0,4750), layer=9, texttype=0))

lib.write_gds('Socket_Strip_Angled_1x16.gds')
